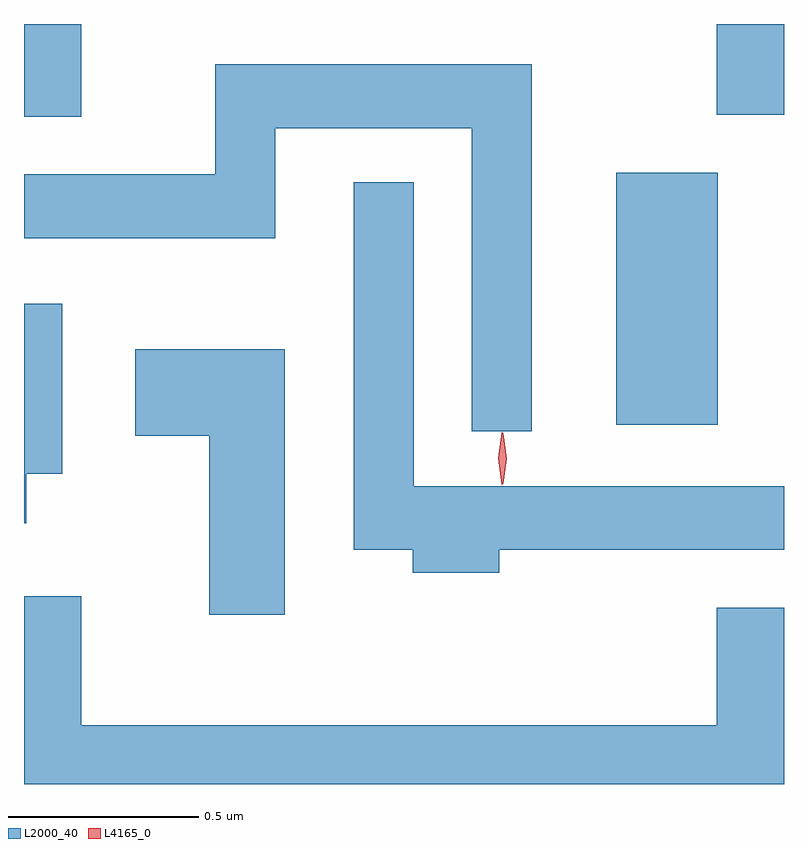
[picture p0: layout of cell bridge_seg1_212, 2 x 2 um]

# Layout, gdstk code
import gdstk
lib = gdstk.Library(unit=1e-6, precision=1e-09)
def R(c, l, rs):  # rectangles x0, y0, x1, y1
    for r in rs: c.add(gdstk.rectangle(r[:2], r[2:], *l))
def P(c, l, *ps):  # polygons
    for p in ps: c.add(gdstk.Polygon(p, *l))
L2000_40 = (2000, 40)
L4165_0 = (4165, 0)

bridge_seg1_212 = lib.new_cell('bridge_seg1_212')
R(bridge_seg1_212, L2000_40, [(803.556,958.356,803.824,959.019), (801.998,959.166,802.149,959.41), (803.821,959.171,803.998,959.41)])
P(bridge_seg1_212, L2000_40, [(803.334,959.304),(802.501,959.304),(802.501,959.014),(801.998,959.014),(801.998,958.846),(802.659,958.846),(802.659,959.136),(803.176,959.136),(803.176,958.338),(803.334,958.338)],
  [(803.249,958.026),(803.998,958.026),(803.998,958.194),(803.024,958.194),(803.024,958.993),(802.866,958.993),(802.866,958.026),(803.021,958.026),(803.021,957.966),(803.249,957.966)],
  [(802.004,958.226),(802.099,958.226),(802.099,958.674),(801.998,958.674),(801.998,958.096),(802.004,958.096)],
  [(802.684,958.554),(802.291,958.554),(802.291,958.326),(802.486,958.326),(802.486,957.856),(802.684,957.856)],
  [(803.998,957.874),(803.821,957.874),(803.821,957.564),(802.149,957.564),(802.149,957.904),(801.998,957.904),(801.998,957.41),(803.998,957.41)])
P(bridge_seg1_212, L4165_0, [(803.258,958.2),(803.258,958.2),(803.248,958.266),(803.258,958.333),(803.258,958.333),(803.259,958.333),(803.268,958.266),(803.259,958.2)],
  [(803.255,958.197),(803.246,958.267),(803.255,958.336),(803.256,958.336),(803.256,958.336),(803.266,958.267),(803.256,958.197),(803.256,958.197)])

lib.write_gds('bridge_seg1_212.gds')
